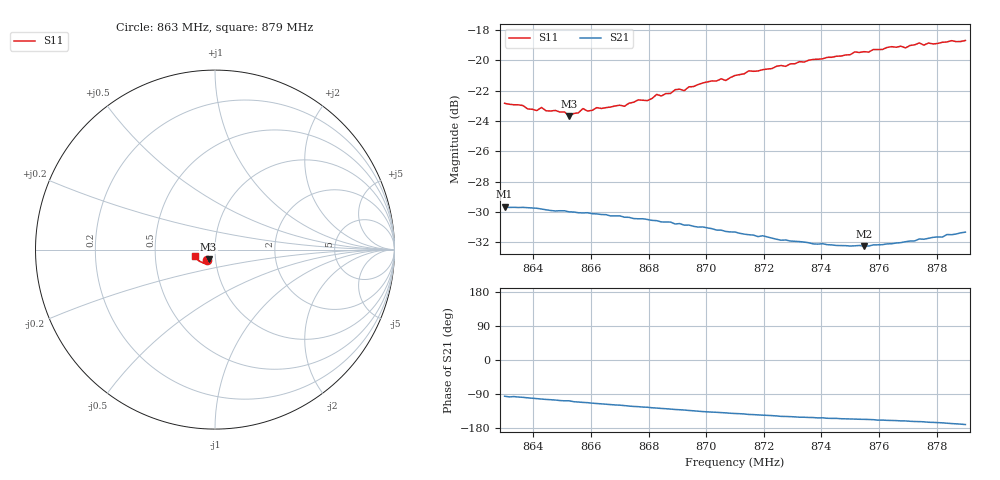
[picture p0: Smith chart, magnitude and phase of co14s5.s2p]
# HZ S RI R 50
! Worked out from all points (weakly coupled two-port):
!   101 points, 863 MHz to 879 MHz, reference 50 ohm
!   highest |S21| = -29.64 dB at 863 MHz (marker M1); lowest = -32.2 dB at 875.48 MHz (marker M2)
!   lowest |S11| = -23.7 dB at 865.24 MHz (marker M3), VSWR 1.14, Z = 46.3 - j5.08 ohm
!   |S11| at or under -10 dB: start of sweep to end of sweep
!   S12 and S22 are empty: the file has one direction only
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8.63e8  -0.0457 -0.0558  -0.00319 -0.0328  0 0  0 0
8.6412e8  -0.04 -0.0553  -0.00673 -0.0318  0 0  0 0
8.6428e8  -0.0408 -0.0567  -0.00732 -0.0315  0 0  0 0
8.6444e8  -0.0403 -0.0549  -0.0078 -0.0312  0 0  0 0
8.6508e8  -0.0375 -0.0561  -0.00972 -0.0304  0 0  0 0
8.6524e8  -0.036 -0.0547  -0.00959 -0.0302  0 0  0 0
8.6572e8  -0.0367 -0.0588  -0.0117 -0.0291  0 0  0 0
8.6588e8  -0.0366 -0.0572  -0.0121 -0.029  0 0  0 0
8.6716e8  -0.0345 -0.0615  -0.0153 -0.0262  0 0  0 0
8.6764e8  -0.0375 -0.0638  -0.0164 -0.0252  0 0  0 0
8.6796e8  -0.0359 -0.0642  -0.017 -0.0246  0 0  0 0
8.6828e8  -0.0377 -0.0673  -0.0178 -0.0237  0 0  0 0
8.6844e8  -0.0372 -0.0665  -0.018 -0.0232  0 0  0 0
8.6988e8  -0.0435 -0.0719  -0.0204 -0.0196  0 0  0 0
8.7068e8  -0.047 -0.0717  -0.0207 -0.0177  0 0  0 0
8.71e8  -0.0496 -0.0739  -0.0212 -0.017  0 0  0 0
8.7372e8  -0.0691 -0.073  -0.0219 -0.0117  0 0  0 0
8.7548e8  -0.0834 -0.0664  -0.0224 -0.00969  0 0  0 0
8.7644e8  -0.0928 -0.0605  -0.0233 -0.00868  0 0  0 0
8.7692e8  -0.0944 -0.0558  -0.0238 -0.00829  0 0  0 0
8.774e8  -0.1005 -0.0537  -0.0246 -0.00772  0 0  0 0
8.79e8  -0.1097 -0.0379  -0.0268 -0.00457  0 0  0 0
